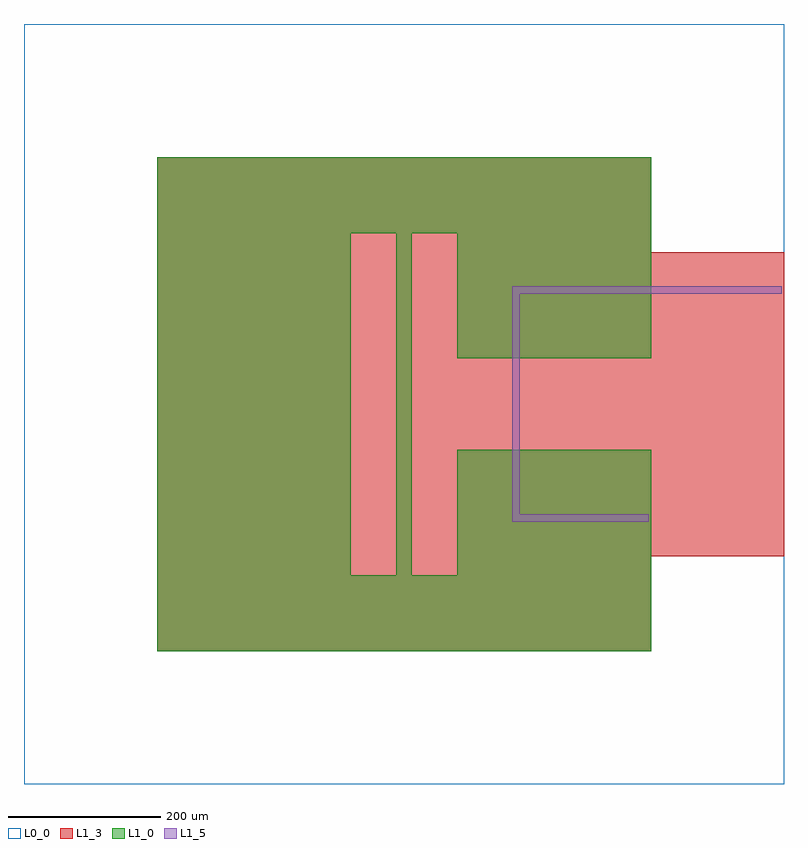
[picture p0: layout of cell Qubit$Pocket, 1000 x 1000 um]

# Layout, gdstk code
import gdstk
lib = gdstk.Library(unit=1e-6, precision=1e-09)
def R(c, l, rs):  # rectangles x0, y0, x1, y1
    for r in rs: c.add(gdstk.rectangle(r[:2], r[2:], *l))
def P(c, l, *ps):  # polygons
    for p in ps: c.add(gdstk.Polygon(p, *l))
L0_0 = (0, 0)
L1_0 = (1, 0)
L1_3 = (1, 3)
L1_5 = (1, 5)

qubit_mod_7_0_single_c = lib.new_cell('Qubit$Mod$7.0$Single$C')
P(qubit_mod_7_0_single_c, L1_0, [(-325,-325),(-325,225),(-70,225),(-70,-225),(-10,-225),(-10,225),(-325,225),(-325,325),(325,325),(325,60),(70,60),(70,225),(10,225),(10,-225),(70,-225),(70,-60),(325,-60),(325,-325)])
R(qubit_mod_7_0_single_c, L1_3, [(-325,-325,325,325)])

c_1ph = lib.new_cell('1pH')
R(c_1ph, L1_3, [(-200,-200,200,200)])
c_1ph.add(gdstk.FlexPath([(200,150),(-150,150),(-150,-150),(25,-150)], 10, ends="flush", simple_path=True, layer=1, datatype=5))  # L1_5

qubit_pocket = lib.new_cell('Qubit$Pocket')
R(qubit_pocket, L0_0, [(-500,-500,500,500)])
R(qubit_pocket, L1_3, [(100,-200,500,200)])
qubit_pocket.add(gdstk.Reference(qubit_mod_7_0_single_c, (0,0)))
qubit_pocket.add(gdstk.Reference(c_1ph, (297.366,0)))

lib.write_gds('Qubit_Pocket.gds')
